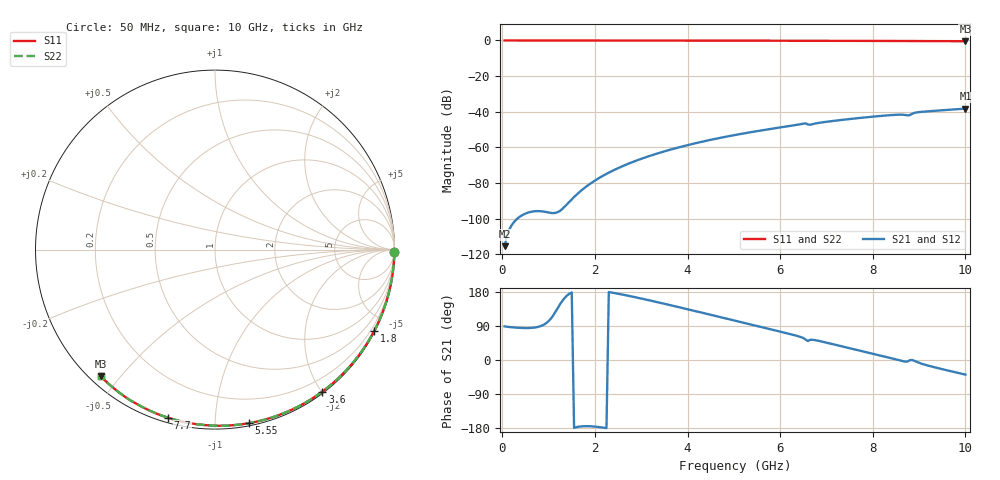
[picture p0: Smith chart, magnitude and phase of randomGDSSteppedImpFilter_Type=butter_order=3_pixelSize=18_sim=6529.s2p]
! freq	dB(S11)	phase(S11)	dB(S12)	phase(S12)
!  dB(S21)	phase(S21)	dB(S22)	phase(S22)
!S-par simulation data
#  GHz  S  DB  R 50
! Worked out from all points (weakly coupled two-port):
!   200 points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, 50 MHz to 10 GHz, reference 50 ohm
!   highest |S21| = -38.28 dB at 10 GHz (marker M1); lowest = -115.5 dB at 50 MHz (marker M2)
!   lowest |S11| = -0.4 dB at 10 GHz (marker M3), VSWR 39.22, Z = 1.53 - j22.2 ohm
!   |S11| at or under -10 dB: nowhere
!   |S22| runs from -0.4 to 0.0 dB; largest |S21 - S12| = 0
!   S11 on the Smith chart (normalised r, x): 50 MHz: open; 1.8 GHz: 0.04, -4.15; 3.6 GHz: 0.02, -2.01; 5.55 GHz: 0.02, -1.21; 7.7 GHz: 0.02, -0.76; 10 GHz: 0.03, -0.44
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0.05  -0.01 -0.8  -115.53 88.7  -115.53 88.7  -0.01 -0.7
0.9  -0.02 -13.7  -96.13 93.3  -96.13 93.3  -0.02 -13.7
1.75  -0.03 -26.3  -83.33 -174.8  -83.33 -174.8  -0.03 -26.3
1.8  -0.03 -27.1  -82.31 -174.6  -82.31 -174.6  -0.03 -27.1
1.95  -0.04 -29.3  -79.54 -175.2  -79.54 -175.2  -0.04 -29.3
2.25  -0.04 -33.7  -74.91 -179.7  -74.91 -179.7  -0.04 -33.7
2.55  -0.05 -38.0  -71.12 173.7  -71.12 173.7  -0.05 -38.0
2.95  -0.06 -43.8  -66.94 163.6  -66.94 163.6  -0.06 -43.8
3.4  -0.07 -50.1  -63.05 151.2  -63.05 151.2  -0.07 -50.1
3.6  -0.07 -52.9  -61.53 145.5  -61.53 145.5  -0.07 -52.9
4.3  -0.09 -62.5  -56.95 125.2  -56.95 125.2  -0.09 -62.5
5.05  -0.11 -72.6  -52.98 103.1  -52.98 103.1  -0.11 -72.6
5.55  -0.13 -79.1  -50.71 88.3  -50.71 88.3  -0.13 -79.1
6.55  -0.17 -91.7  -46.54 53.7  -46.54 53.7  -0.17 -91.7
6.6  -0.18 -92.3  -47.22 50.0  -47.22 50.0  -0.18 -92.3
6.7  -0.18 -93.5  -47.00 53.4  -47.00 53.4  -0.18 -93.5
7.7  -0.24 -105.6  -43.57 25.3  -43.57 25.3  -0.24 -105.6
8.35  -0.29 -113.2  -42.00 6.0  -42.00 6.0  -0.29 -113.2
8.6  -0.31 -116.1  -41.67 -1.8  -41.67 -1.8  -0.31 -116.1
8.75  -0.32 -117.8  -42.06 -3.8  -42.06 -3.8  -0.32 -117.8
9  -0.34 -120.7  -40.23 -7.6  -40.23 -7.6  -0.34 -120.7
10  -0.44 -132.1  -38.28 -38.5  -38.28 -38.5  -0.44 -132.1
